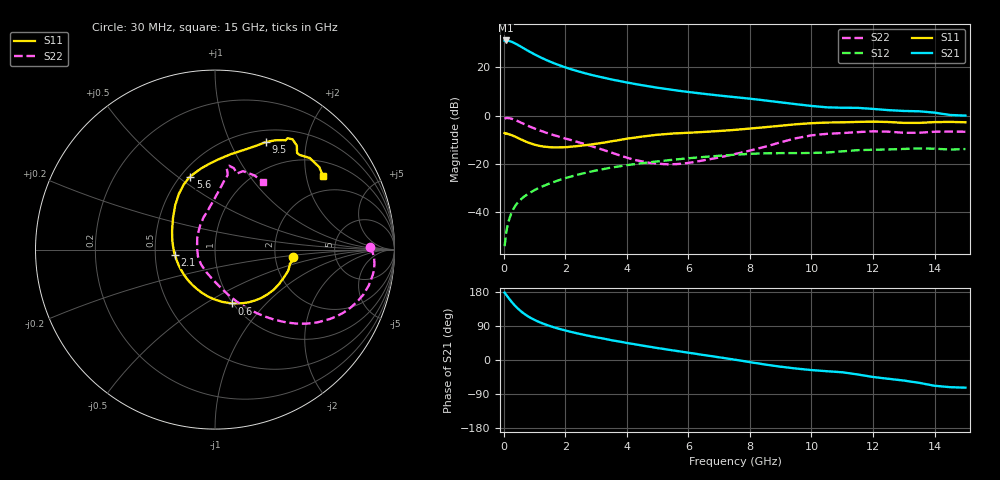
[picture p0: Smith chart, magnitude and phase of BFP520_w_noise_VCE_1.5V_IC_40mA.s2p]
! Infineon Technologies  Discrete & RF Semiconductors
! BFP520
! VCE =  1.5 V,  IC =  40 mA
! Common Emitter S-Parameters:  Oct 2015
# GHz  S  MA  R  50
!  f  S11  S21  S12  S22
! GHz  MAG  ANG  MAG  ANG  MAG  ANG  MAG  ANG
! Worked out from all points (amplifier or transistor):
!   109 points, 30 MHz to 15 GHz, reference 50 ohm
!   highest |S21| = 31.1 dB at 70 MHz (marker M1)
!   |S21| within 3 dB of that: start of sweep to 619 MHz
!   unconditionally stable (mu >= 1): start of sweep to 51.28 MHz; 1.924 GHz to end of sweep
!   at 450 MHz: K = 0.50, MSG = 32.7 dB, |S12| = -36.1 dB
!   at 4 GHz: K = 1.17, MAG = 14.6 dB, |S12| = -20.5 dB
!   at 15 GHz: K = 1.28, MAG = 3.7 dB, |S12| = -13.8 dB
!   lowest NFmin = 2.88 dB at 900 MHz
!   S11 on the Smith chart (normalised r, x): 30 MHz: 2.51, -0.25; 600 MHz: 0.99, -0.66; 2.1 GHz: 0.63, -0.04; 5.6 GHz: 0.56, +0.56; 9.5 GHz: 0.64, +1.37; 15 GHz: 1.42, +2.50
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0.03  0.4354 -5.3  35.58 177.7  0.002 107.7  0.8614 0.9
0.07  0.4246 -10.6  35.75 173.2  0.0034 91.4  0.8855 -2.6
0.14  0.4165 -20.1  35.35 165.7  0.0058 84.3  0.8914 -8.4
0.2  0.4055 -28.1  34.56 159.3  0.0079 81.5  0.8799 -13.1
0.3  0.3843 -40.5  32.66 149.4  0.0113 77.1  0.8438 -20.1
0.35  0.3723 -46.6  31.55 144.8  0.0128 75.4  0.8209 -23.3
0.45  0.348 -57.6  29.17 136.5  0.0157 72.8  0.7722 -28.8
0.6  0.3138 -72.8  25.73 126.0  0.0196 69.9  0.6986 -35.5
0.7  0.2936 -82.3  23.6 120.0  0.022 68.6  0.6533 -39.2
0.9  0.2631 -99.2  20.02 110.1  0.0265 66.7  0.5757 -45.0
1.2  0.2346 -121.6  15.97 98.6  0.0331 64.9  0.4863 -51.6
1.6  0.2204 -147.2  12.35 87.1  0.0419 62.6  0.3999 -58.6
2.1  0.2248 -172.0  9.502 76.0  0.0531 59.4  0.3235 -66.1
2.6  0.2429 168.2  7.635 66.6  0.0643 55.6  0.2616 -73.7
3.5  0.2942 142.6  5.59 52.2  0.0843 47.5  0.1721 -92.7
5.1  0.4068 114.5  3.69 30.3  0.1149 32.6  0.1006 -162.4
5.6  0.4295 108.6  3.323 24.1  0.124 28.1  0.0994 175.8
7.6  0.5132 85.5  2.376 -0.3  0.1566 8.7  0.1652 118.4
9.5  0.6625 64.7  1.72 -22.5  0.168 -9.8  0.3407 85.3
10.5  0.7185 58.1  1.482 -29.6  0.1725 -14.7  0.4197 80.4
13  0.7067 49.7  1.247 -54.2  0.2045 -36.1  0.4411 74.0
15  0.7284 34.5  1 -73.0  0.2036 -52.5  0.4638 54.6
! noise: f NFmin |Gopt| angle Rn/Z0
0.45  2.9  0.12  -150  0.28
0.9  2.88  0.14  -145  0.32
1.9  3.01  0.21  -123  0.34
2.4  3  0.21  -121  0.33
3.5  2.96  0.21  -107  0.37
